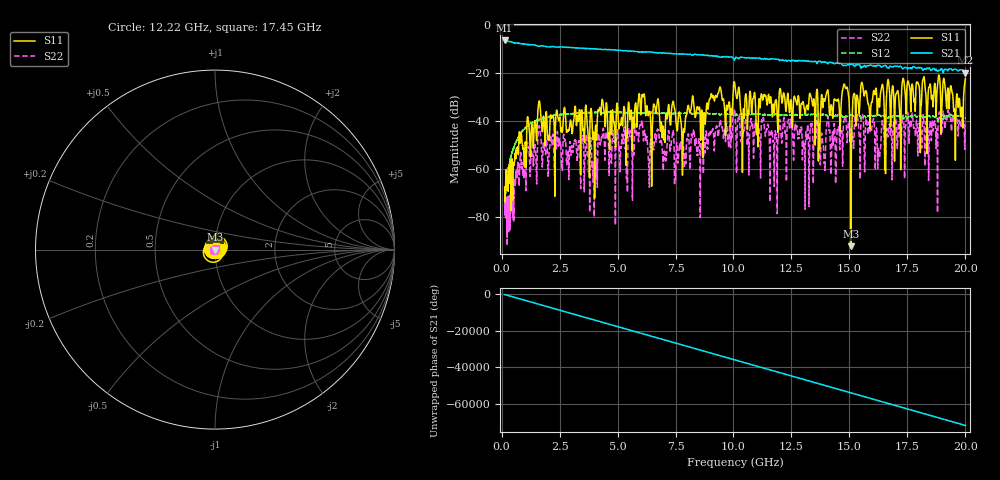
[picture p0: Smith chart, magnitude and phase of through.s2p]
!Created with skrf (http://scikit-rf.org).
# GHz S RI R 50.0
!freq ReS11 ImS11 ReS21 ImS21 ReS12 ImS12 ReS22 ImS22
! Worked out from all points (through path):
!   20013 points, 130 MHz to 20 GHz, reference 50 ohm
!   highest |S21| = -6.39 dB at 130 MHz (marker M1); lowest = -19.8 dB at 20 GHz (marker M2)
!   group delay of S21, straight-line fit = 10 ns
!   lowest |S11| = -92.3 dB at 15.07 GHz (marker M3), VSWR 1.00, Z = 50 + j0.000963 ohm
!   |S11| at or under -10 dB: start of sweep to end of sweep
!   |S22| runs from -92.1 to -34.9 dB; largest |S21 - S12| = 0.48
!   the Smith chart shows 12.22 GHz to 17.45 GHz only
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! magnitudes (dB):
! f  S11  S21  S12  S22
! 130 MHz  -67.8  -6.4  -73.1  -75.9
! 641 MHz  -52.0  -7.5  -48.4  -61.3
! 1.631 GHz  -31.8  -8.9  -39.5  -42.1
! 3.442 GHz  -35.9  -9.6  -36.6  -50.7
! 4.034 GHz  -45.8  -9.9  -36.4  -49.1
! 4.297 GHz  -35.3  -10.1  -36.5  -47.2
! 6.754 GHz  -31.0  -11.6  -36.9  -44.0
! 7.826 GHz  -46.2  -12.1  -36.7  -51.8
! 8.207 GHz  -31.9  -12.5  -37.0  -45.8
! 8.673 GHz  -41.0  -12.4  -36.8  -51.1
! 10.06 GHz  -25.3  -14.1  -38.0  -36.1
! 10.39 GHz  -60.9  -13.4  -37.1  -46.8
! 13.38 GHz  -31.2  -15.1  -37.3  -41.8
! 13.75 GHz  -38.8  -15.1  -37.1  -58.1
! 14.83 GHz  -26.2  -16.8  -38.2  -38.1
! 15.07 GHz  -92.3  -16.3  -37.5  -48.5
! 15.56 GHz  -24.4  -17.2  -38.1  -37.3
! 16.28 GHz  -32.4  -16.8  -37.6  -54.3
! 16.69 GHz  -23.7  -17.9  -38.5  -43.4
! 18.84 GHz  -21.1  -18.9  -39.3  -37.6
! 19.83 GHz  -34.3  -18.7  -37.9  -41.6
! 20 GHz  -22.3  -19.8  -38.8  -41.5
